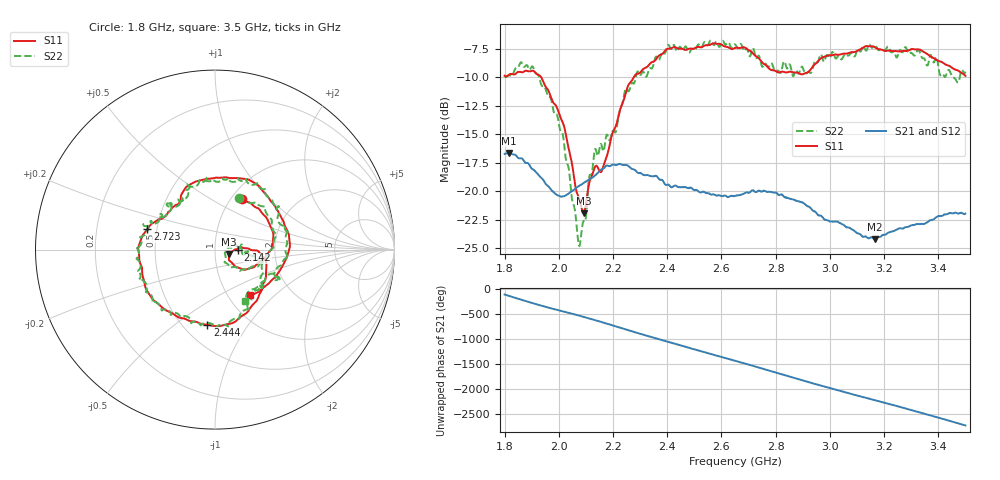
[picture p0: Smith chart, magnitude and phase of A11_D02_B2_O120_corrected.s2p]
! Created with skrf 1.9.0 (http://scikit-rf.org).
# Hz S RI R 50.0
!freq ReS11 ImS11 ReS21 ImS21 ReS12 ImS12 ReS22 ImS22
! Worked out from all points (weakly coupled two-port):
!   1601 points, 1.8 GHz to 3.5 GHz, reference 50 ohm
!   highest |S21| = -16.66 dB at 1.817 GHz (marker M1); lowest = -24.2 dB at 3.165 GHz (marker M2)
!   lowest |S11| = -22.0 dB at 2.091 GHz (marker M3), VSWR 1.17, Z = 58.2 - j2.77 ohm
!   |S11| at or under -10 dB: 1.934 GHz to 2.277 GHz (342.5 MHz wide, 16.3 % of centre)
!   |S22| runs from -24.8 to -6.8 dB; largest |S21 - S12| = 0.0025
!   S11 on the Smith chart (normalised r, x): 1.8 GHz: 1.12, +0.71; 2.142 GHz: 1.29, -0.01; 2.444 GHz: 0.65, -0.66; 2.723 GHz: 0.44, +0.12; 3.5 GHz: 1.25, -0.71
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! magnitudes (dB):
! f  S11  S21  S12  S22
! 1.8 GHz  -9.9  -16.7  -16.7  -9.9
! 1.817 GHz  -9.8  -16.7  -16.7  -9.8
! 1.903 GHz  -9.4  -18.1  -18.1  -9.1
! 1.968 GHz  -11.6  -19.8  -19.8  -11.8
! 2.015 GHz  -14.0  -20.5  -20.5  -15.0
! 2.072 GHz  -20.5  -19.6  -19.6  -24.5
! 2.084 GHz  -21.5  -19.4  -19.4  -23.6
! 2.091 GHz  -22.0  -19.3  -19.3  -22.6
! 2.115 GHz  -19.1  -18.9  -18.9  -18.6
! 2.142 GHz  -17.9  -18.4  -18.4  -16.9
! 2.164 GHz  -17.8  -18.0  -18.0  -16.5
! 2.259 GHz  -10.6  -17.8  -17.8  -11.2
! 2.367 GHz  -8.2  -18.9  -18.8  -8.5
! 2.444 GHz  -7.5  -19.6  -19.7  -7.4
! 2.65 GHz  -7.4  -20.4  -20.4  -7.1
! 2.723 GHz  -8.1  -20.0  -20.0  -8.0
! 2.808 GHz  -9.6  -20.3  -20.2  -9.4
! 2.934 GHz  -9.2  -21.6  -21.6  -9.5
! 3.165 GHz  -7.4  -24.2  -24.2  -7.2
! 3.217 GHz  -7.7  -23.6  -23.6  -7.4
! 3.468 GHz  -9.4  -21.9  -21.9  -10.4
! 3.5 GHz  -9.9  -22.0  -22.0  -9.5
